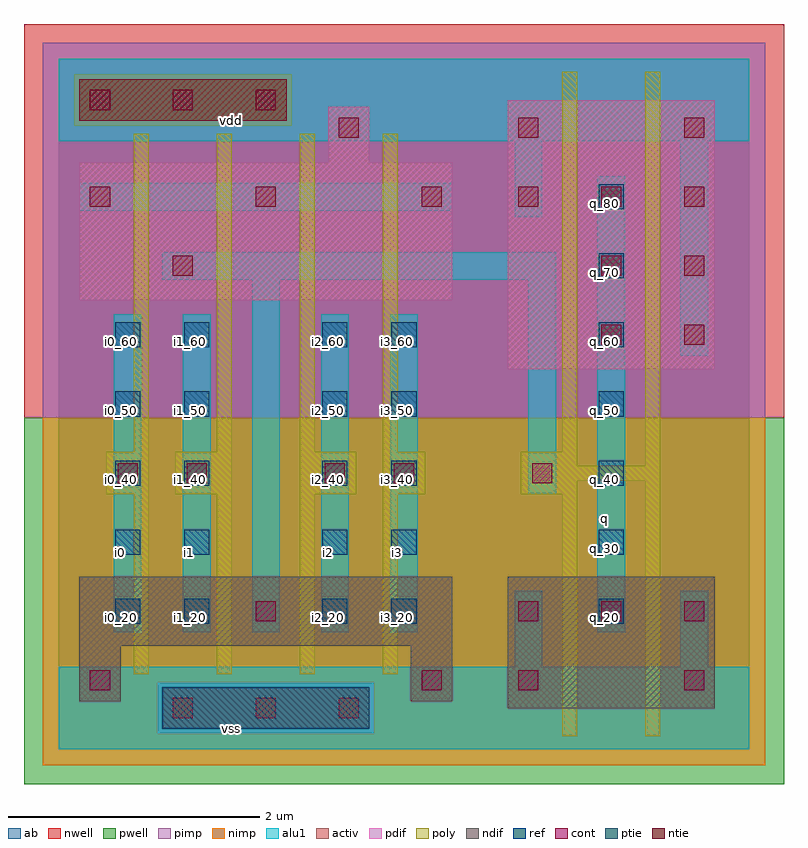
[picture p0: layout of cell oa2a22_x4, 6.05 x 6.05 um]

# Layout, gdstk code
import gdstk
lib = gdstk.Library(unit=1e-6, precision=2.5e-09)
def R(c, l, rs):  # rectangles x0, y0, x1, y1
    for r in rs: c.add(gdstk.rectangle(r[:2], r[2:], *l))
def A(c, l, x, y, w, h, nx, ny, dx, dy):  # array of equal rectangles
    R(c, l, [(x+i*dx, y+j*dy, x+i*dx+w, y+j*dy+h) for i in range(nx) for j in range(ny)])
ndif = (3, 0)
pdif = (4, 0)
ntie = (5, 0)
ptie = (6, 0)
ref = (24, 0)
cont = (25, 0)
pwell = (41, 0)
nwell = (42, 0)
activ = (43, 0)
pimp = (44, 0)
nimp = (45, 0)
poly = (46, 0)
alu1 = (49, 0)
ab = (63, 0)

oa2a22_x4 = lib.new_cell('oa2a22_x4')
R(oa2a22_x4, ndif, [(3.575,0.33,5.225,1.375), (0.165,0.385,0.495,0.825), (2.805,0.385,3.135,0.825), (0.165,0.825,3.135,1.375)])
R(oa2a22_x4, pdif, [(3.575,3.025,5.225,5.17), (0.165,3.575,3.135,4.675), (2.145,4.675,2.475,5.115)])
R(oa2a22_x4, ntie, [(0.165,5.005,1.815,5.335)])
R(oa2a22_x4, ptie, [(0.825,0.165,2.475,0.495)])
A(oa2a22_x4, ref, 0.45, 1, 0.2, 0.2, 1, 5, 0, 0.55)
A(oa2a22_x4, ref, 1, 1, 0.2, 0.2, 1, 5, 0, 0.55)
A(oa2a22_x4, ref, 2.1, 1, 0.2, 0.2, 1, 5, 0, 0.55)
A(oa2a22_x4, ref, 2.65, 1, 0.2, 0.2, 1, 5, 0, 0.55)
A(oa2a22_x4, ref, 4.3, 1, 0.2, 0.2, 1, 7, 0, 0.55)
A(oa2a22_x4, cont, 0.91, 0.25, 0.16, 0.16, 3, 1, 0.66, 0)
A(oa2a22_x4, cont, 3.66, 1.02, 0.16, 0.16, 3, 2, 0.66, 3.3)
A(oa2a22_x4, cont, 0.25, 4.32, 0.16, 0.16, 3, 1, 1.32, 0)
A(oa2a22_x4, cont, 0.25, 5.09, 0.16, 0.16, 3, 1, 0.66, 0)
R(oa2a22_x4, cont, [(0.25,0.47,0.41,0.63), (2.89,0.47,3.05,0.63), (3.66,0.47,3.82,0.63), (4.98,0.47,5.14,0.63), (1.57,1.02,1.73,1.18), (0.47,2.12,0.63,2.28), (1.02,2.12,1.18,2.28), (2.12,2.12,2.28,2.28), (2.67,2.12,2.83,2.28), (3.77,2.12,3.93,2.28), (4.32,3.22,4.48,3.38), (4.98,3.22,5.14,3.38), (0.91,3.77,1.07,3.93), (4.32,3.77,4.48,3.93), (4.98,3.77,5.14,3.93), (2.23,4.87,2.39,5.03), (3.66,4.87,3.82,5.03), (4.98,4.87,5.14,5.03)])
R(oa2a22_x4, pwell, [(-0.275,-0.275,5.775,2.64)])
R(oa2a22_x4, nwell, [(-0.275,2.64,5.775,5.775)])
R(oa2a22_x4, activ, [(0.825,0.165,2.475,0.495), (3.575,0.33,5.225,1.375), (0.165,0.385,0.495,0.825), (2.805,0.385,3.135,0.825), (0.165,0.825,3.135,1.375), (3.575,3.025,5.225,5.17), (0.165,3.575,3.135,4.675), (2.145,4.675,2.475,5.115), (0.165,5.005,1.815,5.335)])
R(oa2a22_x4, pimp, [(0.785,0.125,2.515,0.535), (-0.125,2.64,5.625,4.965), (-0.125,4.965,0.125,5.375), (1.855,4.965,5.625,5.375), (-0.125,5.375,5.625,5.625)])
R(oa2a22_x4, nimp, [(-0.125,-0.125,5.625,0.125), (-0.125,0.125,0.785,0.535), (2.515,0.125,5.625,0.535), (-0.125,0.535,5.625,2.64), (0.125,4.965,1.855,5.375)])
A(oa2a22_x4, poly, 0.6, 0.6, 0.12, 1.43, 4, 1, 0.66, 0)
A(oa2a22_x4, poly, 0.6, 2.37, 0.12, 2.53, 4, 1, 0.66, 0)
R(oa2a22_x4, poly, [(4.01,0.105,4.13,2.03), (4.67,0.105,4.79,2.14), (0.38,2.03,0.72,2.37), (0.93,2.03,1.38,2.37), (1.92,2.03,2.37,2.37), (2.58,2.03,2.92,2.37), (3.68,2.03,4.13,2.14), (3.68,2.14,4.79,2.26), (3.68,2.26,4.13,2.37), (4.67,2.26,4.79,5.395), (4.01,2.37,4.13,5.395)])
R(oa2a22_x4, alu1, [(0,0,5.5,0.66), (3.63,0.66,3.85,1.265), (4.95,0.66,5.17,1.265), (0.44,0.935,0.66,3.465), (0.99,0.935,1.21,3.465), (1.54,0.935,1.76,3.74), (2.09,0.935,2.31,3.465), (2.64,0.935,2.86,3.465), (4.29,0.935,4.51,4.565), (3.74,2.035,3.96,3.74), (4.95,3.135,5.17,4.84), (0.825,3.74,3.96,3.96), (3.63,4.235,3.85,4.84), (0.165,4.29,3.135,4.51), (0,4.84,5.5,5.5)])
R(oa2a22_x4, ab, [(0,0,5.5,5.5)])
oa2a22_x4.add(gdstk.Label('vss', (1.375,0.165), layer=49, texttype=0))
oa2a22_x4.add(gdstk.Label('q', (4.345,1.8425), layer=49, texttype=0))
oa2a22_x4.add(gdstk.Label('i3', (2.695,1.5675), layer=49, texttype=0))
oa2a22_x4.add(gdstk.Label('i2', (2.145,1.5675), layer=49, texttype=0))
oa2a22_x4.add(gdstk.Label('i1', (1.045,1.5675), layer=49, texttype=0))
oa2a22_x4.add(gdstk.Label('i0', (0.495,1.5675), layer=49, texttype=0))
oa2a22_x4.add(gdstk.Label('vdd', (1.375,5.005), layer=49, texttype=0))
oa2a22_x4.add(gdstk.Label('i3_20', (2.7,1.05), layer=24, texttype=0))
oa2a22_x4.add(gdstk.Label('i3_30', (2.7,1.6), layer=24, texttype=0))
oa2a22_x4.add(gdstk.Label('i3_40', (2.7,2.15), layer=24, texttype=0))
oa2a22_x4.add(gdstk.Label('i3_50', (2.7,2.7), layer=24, texttype=0))
oa2a22_x4.add(gdstk.Label('i3_60', (2.7,3.25), layer=24, texttype=0))
oa2a22_x4.add(gdstk.Label('i2_60', (2.15,3.25), layer=24, texttype=0))
oa2a22_x4.add(gdstk.Label('i2_50', (2.15,2.7), layer=24, texttype=0))
oa2a22_x4.add(gdstk.Label('i2_40', (2.15,2.15), layer=24, texttype=0))
oa2a22_x4.add(gdstk.Label('i2_30', (2.15,1.6), layer=24, texttype=0))
oa2a22_x4.add(gdstk.Label('i2_20', (2.15,1.05), layer=24, texttype=0))
oa2a22_x4.add(gdstk.Label('i1_20', (1.05,1.05), layer=24, texttype=0))
oa2a22_x4.add(gdstk.Label('i1_30', (1.05,1.6), layer=24, texttype=0))
oa2a22_x4.add(gdstk.Label('i1_40', (1.05,2.15), layer=24, texttype=0))
oa2a22_x4.add(gdstk.Label('i1_50', (1.05,2.7), layer=24, texttype=0))
oa2a22_x4.add(gdstk.Label('i1_60', (1.05,3.25), layer=24, texttype=0))
oa2a22_x4.add(gdstk.Label('i0_60', (0.5,3.25), layer=24, texttype=0))
oa2a22_x4.add(gdstk.Label('i0_50', (0.5,2.7), layer=24, texttype=0))
oa2a22_x4.add(gdstk.Label('i0_40', (0.5,2.15), layer=24, texttype=0))
oa2a22_x4.add(gdstk.Label('i0_30', (0.5,1.6), layer=24, texttype=0))
oa2a22_x4.add(gdstk.Label('i0_20', (0.5,1.05), layer=24, texttype=0))
oa2a22_x4.add(gdstk.Label('q_80', (4.35,4.35), layer=24, texttype=0))
oa2a22_x4.add(gdstk.Label('q_70', (4.35,3.8), layer=24, texttype=0))
oa2a22_x4.add(gdstk.Label('q_60', (4.35,3.25), layer=24, texttype=0))
oa2a22_x4.add(gdstk.Label('q_40', (4.35,2.15), layer=24, texttype=0))
oa2a22_x4.add(gdstk.Label('q_20', (4.35,1.05), layer=24, texttype=0))
oa2a22_x4.add(gdstk.Label('q_30', (4.35,1.6), layer=24, texttype=0))
oa2a22_x4.add(gdstk.Label('q_50', (4.35,2.7), layer=24, texttype=0))

lib.write_gds('oa2a22_x4.gds')
